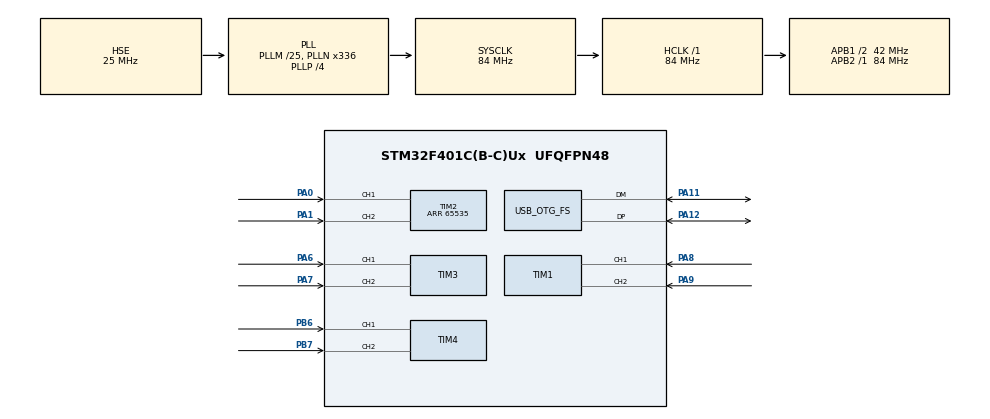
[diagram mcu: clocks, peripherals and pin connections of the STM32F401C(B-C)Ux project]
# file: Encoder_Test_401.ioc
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Mcu.Family=STM32F4
Mcu.Name=STM32F401C(B-C)Ux
Mcu.Package=UFQFPN48
NVIC.OTG_FS_IRQn=true\:0\:0\:false\:false\:true\:true\:true\:true
NVIC.PriorityGroup=NVIC_PRIORITYGROUP_4
PA0-WKUP.GPIO_PuPd=GPIO_PULLUP
PA0-WKUP.Signal=S_TIM2_CH1_ETR
PA1.GPIO_PuPd=GPIO_PULLUP
PA1.Signal=S_TIM2_CH2
PA11.Mode=Device_Only
PA11.Signal=USB_OTG_FS_DM
PA12.Mode=Device_Only
PA12.Signal=USB_OTG_FS_DP
PA6.GPIO_PuPd=GPIO_PULLUP
PA6.Signal=S_TIM3_CH1
PA7.GPIO_PuPd=GPIO_PULLUP
PA7.Signal=S_TIM3_CH2
PA8.GPIO_PuPd=GPIO_PULLUP
PA8.Signal=S_TIM1_CH1
PA9.GPIO_PuPd=GPIO_PULLUP
PA9.Signal=S_TIM1_CH2
PB6.GPIO_PuPd=GPIO_PULLUP
PB6.Signal=S_TIM4_CH1
PB7.GPIO_PuPd=GPIO_PULLUP
PB7.Signal=S_TIM4_CH2
PH0\ -\ OSC_IN.Mode=HSE-External-Oscillator
PH0\ -\ OSC_IN.Signal=RCC_OSC_IN
PH1\ -\ OSC_OUT.Mode=HSE-External-Oscillator
PH1\ -\ OSC_OUT.Signal=RCC_OSC_OUT
ProjectManager.HeapSize=0x200
ProjectManager.StackSize=0x400
ProjectManager.TargetToolchain=STM32CubeIDE
RCC.48MHZClocksFreq_Value=48000000
RCC.AHBFreq_Value=84000000
RCC.APB1CLKDivider=RCC_HCLK_DIV2
RCC.APB1Freq_Value=42000000
RCC.APB1TimFreq_Value=84000000
RCC.APB2Freq_Value=84000000
RCC.APB2TimFreq_Value=84000000
RCC.CortexFreq_Value=84000000
RCC.HCLKFreq_Value=84000000
RCC.HSE_VALUE=25000000
RCC.HSI_VALUE=16000000
RCC.LSE_VALUE=32768
RCC.PLLM=25
RCC.PLLN=336
RCC.PLLP=RCC_PLLP_DIV4
RCC.PLLQ=7
RCC.SYSCLKFreq_VALUE=84000000
RCC.SYSCLKSource=RCC_SYSCLKSOURCE_PLLCLK
RCC.VCOOutputFreq_Value=336000000
SH.S_TIM1_CH1.0=TIM1_CH1,Encoder_Interface
SH.S_TIM1_CH2.0=TIM1_CH2,Encoder_Interface
SH.S_TIM2_CH1_ETR.0=TIM2_CH1,Encoder_Interface
SH.S_TIM2_CH2.0=TIM2_CH2,Encoder_Interface
SH.S_TIM3_CH1.0=TIM3_CH1,Encoder_Interface
SH.S_TIM3_CH2.0=TIM3_CH2,Encoder_Interface
SH.S_TIM4_CH1.0=TIM4_CH1,Encoder_Interface
SH.S_TIM4_CH2.0=TIM4_CH2,Encoder_Interface
TIM1.EncoderMode=TIM_ENCODERMODE_TI12
TIM2.EncoderMode=TIM_ENCODERMODE_TI12
TIM2.Period=65535
TIM3.EncoderMode=TIM_ENCODERMODE_TI12
TIM4.EncoderMode=TIM_ENCODERMODE_TI12
USB_DEVICE.CLASS_NAME_FS=CDC
USB_DEVICE.VirtualMode=Cdc
USB_DEVICE.VirtualModeFS=Cdc_FS
USB_OTG_FS.VirtualMode=Device_Only
VP_USB_DEVICE_VS_USB_DEVICE_CDC_FS.Mode=CDC_FS
board=custom

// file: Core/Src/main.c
/* USER CODE BEGIN Header */
/**
 ******************************************************************************
 * @file           : main.c
 * @brief          : Main program body
 ******************************************************************************
 * @attention
 *
 * Copyright (c) 2024 STMicroelectronics.
 * All rights reserved.
 *
 * This software is licensed under terms that can be found in the LICENSE file
 * in the root directory of this software component.
 * If no LICENSE file comes with this software, it is provided AS-IS.
 *
 ******************************************************************************
 */
/* USER CODE END Header */
#include "main.h"
#include "usb_device.h"

/* USER CODE BEGIN Includes */
#include "stdio.h"
#include "usbd_cdc_if.h"

/* USER CODE END Includes */

TIM_HandleTypeDef htim1;
TIM_HandleTypeDef htim2;
TIM_HandleTypeDef htim3;
TIM_HandleTypeDef htim4;

/* USER CODE BEGIN PV */
uint8_t buffer[100];
char message[100];
int pwm_value1, pwm_value2;

/* USER CODE END PV */

void SystemClock_Config(void);
static void MX_GPIO_Init(void);
static void MX_TIM1_Init(void);
static void MX_TIM2_Init(void);
static void MX_TIM3_Init(void);
static void MX_TIM4_Init(void);

/* USER CODE BEGIN 0 */
/* _write function is necessary when using serial wire viewer via STMCubeProgrammer*/
int _write(int file, char *ptr, int len) {
	int DataIdx;
	for (DataIdx = 0; DataIdx < len; DataIdx++) {
		ITM_SendChar(*ptr++);
	}
	return len;
}

// Define constants for period wrapping
#define ONE_PERIOD 65536
#define HALF_PERIOD 32768
#define NUM_ENCODERS 4   // Number of encoders

typedef struct {
	uint16_t timer_count;   // Current timer count (from hardware)
	int32_t prev_unwrapped; // Previous unwrapped count
	int32_t unwrapped_count; // Accumulated unwrapped count
} Encoder;

// Initialize an array of encoders
Encoder encoders[NUM_ENCODERS];

void unwrap_encoder(Encoder *encoder) {
	// Get the current 16-bit count and previous unwrapped count
	uint16_t current_count = encoder->timer_count;
	int32_t *prev = &(encoder->prev_unwrapped);

	int32_t c32 = (int32_t) current_count - HALF_PERIOD; // Remove half period to determine sign of the wrap
	int32_t dif = (c32 - *prev);              // Calculate the difference

	// Wrap difference from -HALF_PERIOD to HALF_PERIOD
	int32_t mod_dif = ((dif + HALF_PERIOD) % ONE_PERIOD) - HALF_PERIOD;
	if (dif < -HALF_PERIOD) {
		mod_dif += ONE_PERIOD; // Account for mod of negative number behavior in C
	}

	// Update unwrapped count and store it in the encoder structure
	int32_t unwrapped = *prev + mod_dif;
	encoder->unwrapped_count = unwrapped + HALF_PERIOD; // Store unwrapped count
	*prev = unwrapped;  // Update previous unwrapped count
}

void update_encoders(void) {
	// Read current counts from hardware timers (assuming you are using TIM3, TIM4, TIM5, and TIM8)
	encoders[0].timer_count = TIM3->CNT;
	encoders[1].timer_count = TIM1->CNT;
	encoders[2].timer_count = TIM5->CNT;
	encoders[3].timer_count = TIM4->CNT;

	// Update the unwrapped count for each encoder
	for (int i = 0; i < NUM_ENCODERS; i++)
		unwrap_encoder(&encoders[i]);  // Call unwrap_encoder for each encoder

}
/* USER CODE END 0 */

int main(void)
{

  /* MCU Configuration--------------------------------------------------------*/

  /* Reset of all peripherals, Initializes the Flash interface and the Systick. */
  HAL_Init();

  /* Configure the system clock */
  SystemClock_Config();

  /* Initialize all configured peripherals */
  MX_GPIO_Init();
  MX_TIM1_Init();
  MX_TIM2_Init();
  MX_TIM3_Init();
  MX_TIM4_Init();
  MX_USB_DEVICE_Init();
  /* USER CODE BEGIN 2 */
	HAL_TIM_Encoder_Start(&htim2, TIM_CHANNEL_ALL);
	HAL_TIM_Encoder_Start(&htim1, TIM_CHANNEL_ALL);
	HAL_TIM_Encoder_Start(&htim4, TIM_CHANNEL_ALL);
	HAL_TIM_Encoder_Start(&htim3, TIM_CHANNEL_ALL);

  /* USER CODE END 2 */

  /* Infinite loop */
	while (1) {

    /* USER CODE BEGIN 3 */
		update_encoders(); //to refresh encoder counts
		for (int i = 0; i < 4; i++) {
			printf(message , "%c%ld\r\n", 65+i, encoders[i].unwrapped_count); // to print via serial wire viewer
			sprintf(message , "%c%ld\r\n", 65+i, encoders[i].unwrapped_count); // to print via USB using USB_CDC
			CDC_Transmit_FS(message, strlen(message));
			HAL_Delay(1);
		}

	}
  /* USER CODE END 3 */
}

void SystemClock_Config(void)
{
  RCC_OscInitTypeDef RCC_OscInitStruct = {0};
  RCC_ClkInitTypeDef RCC_ClkInitStruct = {0};

  /** Configure the main internal regulator output voltage
  */
  __HAL_RCC_PWR_CLK_ENABLE();
  __HAL_PWR_VOLTAGESCALING_CONFIG(PWR_REGULATOR_VOLTAGE_SCALE2);

  /** Initializes the RCC Oscillators according to the specified parameters
  * in the RCC_OscInitTypeDef structure.
  */
  RCC_OscInitStruct.OscillatorType = RCC_OSCILLATORTYPE_HSE;
  RCC_OscInitStruct.HSEState = RCC_HSE_ON;
  RCC_OscInitStruct.PLL.PLLState = RCC_PLL_ON;
  RCC_OscInitStruct.PLL.PLLSource = RCC_PLLSOURCE_HSE;
  RCC_OscInitStruct.PLL.PLLM = 25;
  RCC_OscInitStruct.PLL.PLLN = 336;
  RCC_OscInitStruct.PLL.PLLP = RCC_PLLP_DIV4;
  RCC_OscInitStruct.PLL.PLLQ = 7;
  if (HAL_RCC_OscConfig(&RCC_OscInitStruct) != HAL_OK)
  {
    Error_Handler();
  }

  /** Initializes the CPU, AHB and APB buses clocks
  */
  RCC_ClkInitStruct.ClockType = RCC_CLOCKTYPE_HCLK|RCC_CLOCKTYPE_SYSCLK
                              |RCC_CLOCKTYPE_PCLK1|RCC_CLOCKTYPE_PCLK2;
  RCC_ClkInitStruct.SYSCLKSource = RCC_SYSCLKSOURCE_PLLCLK;
  RCC_ClkInitStruct.AHBCLKDivider = RCC_SYSCLK_DIV1;
  RCC_ClkInitStruct.APB1CLKDivider = RCC_HCLK_DIV2;
  RCC_ClkInitStruct.APB2CLKDivider = RCC_HCLK_DIV1;

  if (HAL_RCC_ClockConfig(&RCC_ClkInitStruct, FLASH_LATENCY_2) != HAL_OK)
  {
    Error_Handler();
  }
}

static void MX_TIM1_Init(void)
{

  TIM_Encoder_InitTypeDef sConfig = {0};
  TIM_MasterConfigTypeDef sMasterConfig = {0};

  htim1.Instance = TIM1;
  htim1.Init.Prescaler = 0;
  htim1.Init.CounterMode = TIM_COUNTERMODE_UP;
  htim1.Init.Period = 65535;
  htim1.Init.ClockDivision = TIM_CLOCKDIVISION_DIV1;
  htim1.Init.RepetitionCounter = 0;
  htim1.Init.AutoReloadPreload = TIM_AUTORELOAD_PRELOAD_DISABLE;
  sConfig.EncoderMode = TIM_ENCODERMODE_TI12;
  sConfig.IC1Polarity = TIM_ICPOLARITY_RISING;
  sConfig.IC1Selection = TIM_ICSELECTION_DIRECTTI;
  sConfig.IC1Prescaler = TIM_ICPSC_DIV1;
  sConfig.IC1Filter = 0;
  sConfig.IC2Polarity = TIM_ICPOLARITY_RISING;
  sConfig.IC2Selection = TIM_ICSELECTION_DIRECTTI;
  sConfig.IC2Prescaler = TIM_ICPSC_DIV1;
  sConfig.IC2Filter = 0;
  if (HAL_TIM_Encoder_Init(&htim1, &sConfig) != HAL_OK)
  {
    Error_Handler();
  }
  sMasterConfig.MasterOutputTrigger = TIM_TRGO_RESET;
  sMasterConfig.MasterSlaveMode = TIM_MASTERSLAVEMODE_DISABLE;
  if (HAL_TIMEx_MasterConfigSynchronization(&htim1, &sMasterConfig) != HAL_OK)
  {
    Error_Handler();
  }

}

static void MX_TIM2_Init(void)
{

  TIM_Encoder_InitTypeDef sConfig = {0};
  TIM_MasterConfigTypeDef sMasterConfig = {0};

  htim2.Instance = TIM2;
  htim2.Init.Prescaler = 0;
  htim2.Init.CounterMode = TIM_COUNTERMODE_UP;
  htim2.Init.Period = 65535;
  htim2.Init.ClockDivision = TIM_CLOCKDIVISION_DIV1;
  htim2.Init.AutoReloadPreload = TIM_AUTORELOAD_PRELOAD_DISABLE;
  sConfig.EncoderMode = TIM_ENCODERMODE_TI12;
  sConfig.IC1Polarity = TIM_ICPOLARITY_RISING;
  sConfig.IC1Selection = TIM_ICSELECTION_DIRECTTI;
  sConfig.IC1Prescaler = TIM_ICPSC_DIV1;
  sConfig.IC1Filter = 0;
  sConfig.IC2Polarity = TIM_ICPOLARITY_RISING;
  sConfig.IC2Selection = TIM_ICSELECTION_DIRECTTI;
  sConfig.IC2Prescaler = TIM_ICPSC_DIV1;
  sConfig.IC2Filter = 0;
  if (HAL_TIM_Encoder_Init(&htim2, &sConfig) != HAL_OK)
  {
    Error_Handler();
  }
  sMasterConfig.MasterOutputTrigger = TIM_TRGO_RESET;
  sMasterConfig.MasterSlaveMode = TIM_MASTERSLAVEMODE_DISABLE;
  if (HAL_TIMEx_MasterConfigSynchronization(&htim2, &sMasterConfig) != HAL_OK)
  {
    Error_Handler();
  }

}

static void MX_TIM3_Init(void)
{

  TIM_Encoder_InitTypeDef sConfig = {0};
  TIM_MasterConfigTypeDef sMasterConfig = {0};

  htim3.Instance = TIM3;
  htim3.Init.Prescaler = 0;
  htim3.Init.CounterMode = TIM_COUNTERMODE_UP;
  htim3.Init.Period = 65535;
  htim3.Init.ClockDivision = TIM_CLOCKDIVISION_DIV1;
  htim3.Init.AutoReloadPreload = TIM_AUTORELOAD_PRELOAD_DISABLE;
  sConfig.EncoderMode = TIM_ENCODERMODE_TI12;
  sConfig.IC1Polarity = TIM_ICPOLARITY_RISING;
  sConfig.IC1Selection = TIM_ICSELECTION_DIRECTTI;
  sConfig.IC1Prescaler = TIM_ICPSC_DIV1;
  sConfig.IC1Filter = 0;
  sConfig.IC2Polarity = TIM_ICPOLARITY_RISING;
  sConfig.IC2Selection = TIM_ICSELECTION_DIRECTTI;
  sConfig.IC2Prescaler = TIM_ICPSC_DIV1;
  sConfig.IC2Filter = 0;
  if (HAL_TIM_Encoder_Init(&htim3, &sConfig) != HAL_OK)
  {
    Error_Handler();
  }
  sMasterConfig.MasterOutputTrigger = TIM_TRGO_RESET;
  sMasterConfig.MasterSlaveMode = TIM_MASTERSLAVEMODE_DISABLE;
  if (HAL_TIMEx_MasterConfigSynchronization(&htim3, &sMasterConfig) != HAL_OK)
  {
    Error_Handler();
  }

}

static void MX_TIM4_Init(void)
{

  TIM_Encoder_InitTypeDef sConfig = {0};
  TIM_MasterConfigTypeDef sMasterConfig = {0};

  htim4.Instance = TIM4;
  htim4.Init.Prescaler = 0;
  htim4.Init.CounterMode = TIM_COUNTERMODE_UP;
  htim4.Init.Period = 65535;
  htim4.Init.ClockDivision = TIM_CLOCKDIVISION_DIV1;
  htim4.Init.AutoReloadPreload = TIM_AUTORELOAD_PRELOAD_DISABLE;
  sConfig.EncoderMode = TIM_ENCODERMODE_TI12;
  sConfig.IC1Polarity = TIM_ICPOLARITY_RISING;
  sConfig.IC1Selection = TIM_ICSELECTION_DIRECTTI;
  sConfig.IC1Prescaler = TIM_ICPSC_DIV1;
  sConfig.IC1Filter = 0;
  sConfig.IC2Polarity = TIM_ICPOLARITY_RISING;
  sConfig.IC2Selection = TIM_ICSELECTION_DIRECTTI;
  sConfig.IC2Prescaler = TIM_ICPSC_DIV1;
  sConfig.IC2Filter = 0;
  if (HAL_TIM_Encoder_Init(&htim4, &sConfig) != HAL_OK)
  {
    Error_Handler();
  }
  sMasterConfig.MasterOutputTrigger = TIM_TRGO_RESET;
  sMasterConfig.MasterSlaveMode = TIM_MASTERSLAVEMODE_DISABLE;
  if (HAL_TIMEx_MasterConfigSynchronization(&htim4, &sMasterConfig) != HAL_OK)
  {
    Error_Handler();
  }

}

static void MX_GPIO_Init(void)
{

  /* GPIO Ports Clock Enable */
  __HAL_RCC_GPIOH_CLK_ENABLE();
  __HAL_RCC_GPIOA_CLK_ENABLE();
  __HAL_RCC_GPIOB_CLK_ENABLE();

}

void Error_Handler(void)
{
	__disable_irq();
	while (1) {
	}
}
